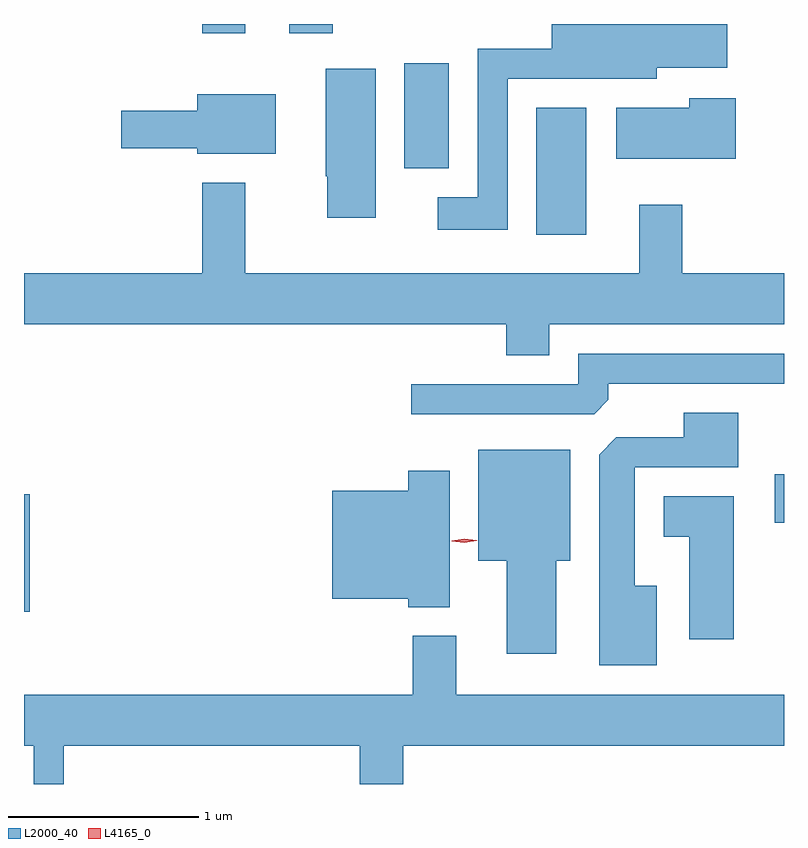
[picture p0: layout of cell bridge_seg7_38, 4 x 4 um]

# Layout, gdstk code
import gdstk
lib = gdstk.Library(unit=1e-6, precision=1e-09)
def R(c, l, rs):  # rectangles x0, y0, x1, y1
    for r in rs: c.add(gdstk.rectangle(r[:2], r[2:], *l))
def P(c, l, *ps):  # polygons
    for p in ps: c.add(gdstk.Polygon(p, *l))
L2000_40 = (2000, 40)
L4165_0 = (4165, 0)

bridge_seg7_38 = lib.new_cell('bridge_seg7_38')
R(bridge_seg7_38, L2000_40, [(1726.204,1750.541,1726.234,1751.159), (1730.156,1751.011,1730.204,1751.264), (1728.901,1752.526,1729.164,1753.194), (1728.206,1752.876,1728.439,1753.429), (1727.141,1753.586,1727.369,1753.635), (1727.601,1753.586,1727.829,1753.635)])
P(bridge_seg7_38, L2000_40, [(1728.749,1753.346),(1729.534,1753.346),(1729.534,1753.406),(1729.904,1753.406),(1729.904,1753.635),(1728.981,1753.635),(1728.981,1753.504),(1728.591,1753.504),(1728.591,1752.724),(1728.381,1752.724),(1728.381,1752.551),(1728.749,1752.551)],
  [(1728.054,1753.399),(1727.791,1753.399),(1727.791,1752.835),(1727.801,1752.835),(1727.801,1752.616),(1728.054,1752.616)],
  [(1727.529,1753.264),(1727.116,1753.264),(1727.116,1753.179),(1726.716,1753.179),(1726.716,1752.981),(1727.116,1752.981),(1727.116,1752.951),(1727.529,1752.951)],
  [(1729.949,1753.244),(1729.706,1753.244),(1729.706,1753.194),(1729.321,1753.194),(1729.321,1752.926),(1729.949,1752.926)],
  [(1728.969,1752.056),(1730.204,1752.056),(1730.204,1752.324),(1729.669,1752.324),(1729.669,1752.684),(1729.441,1752.684),(1729.441,1752.324),(1727.369,1752.324),(1727.369,1752.799),(1727.141,1752.799),(1727.141,1752.324),(1726.204,1752.324),(1726.204,1752.056),(1728.741,1752.056),(1728.741,1751.891),(1728.969,1751.891)],
  [(1729.279,1751.657),(1729.279,1751.741),(1730.204,1751.741),(1730.204,1751.899),(1729.121,1751.899),(1729.121,1751.739),(1728.243,1751.739),(1728.243,1751.581),(1729.204,1751.581)],
  [(1729.534,1750.679),(1729.419,1750.679),(1729.419,1751.301),(1729.964,1751.301),(1729.964,1751.589),(1729.676,1751.589),(1729.676,1751.459),(1729.322,1751.459),(1729.231,1751.369),(1729.231,1750.261),(1729.534,1750.261)],
  [(1729.004,1750.811),(1729.079,1750.811),(1729.079,1751.394),(1728.596,1751.394),(1728.596,1750.811),(1728.746,1750.811),(1728.746,1750.321),(1729.004,1750.321)],
  [(1728.444,1751.284),(1728.226,1751.284),(1728.226,1751.179),(1727.826,1751.179),(1727.826,1750.611),(1728.226,1750.611),(1728.226,1750.566),(1728.444,1750.566)],
  [(1729.939,1751.149),(1729.571,1751.149),(1729.571,1750.936),(1729.706,1750.936),(1729.706,1750.396),(1729.939,1750.396)],
  [(1726.414,1749.836),(1727.971,1749.836),(1727.971,1749.635),(1728.199,1749.635),(1728.199,1749.836),(1730.204,1749.836),(1730.204,1750.104),(1728.479,1750.104),(1728.479,1750.414),(1728.251,1750.414),(1728.251,1750.104),(1726.204,1750.104),(1726.204,1749.836),(1726.256,1749.836),(1726.256,1749.635),(1726.414,1749.635)])
P(bridge_seg7_38, L4165_0, [(1728.521,1750.905),(1728.456,1750.913),(1728.456,1750.913),(1728.456,1750.914),(1728.521,1750.925),(1728.586,1750.917),(1728.586,1750.916),(1728.586,1750.916)])

lib.write_gds('bridge_seg7_38.gds')
